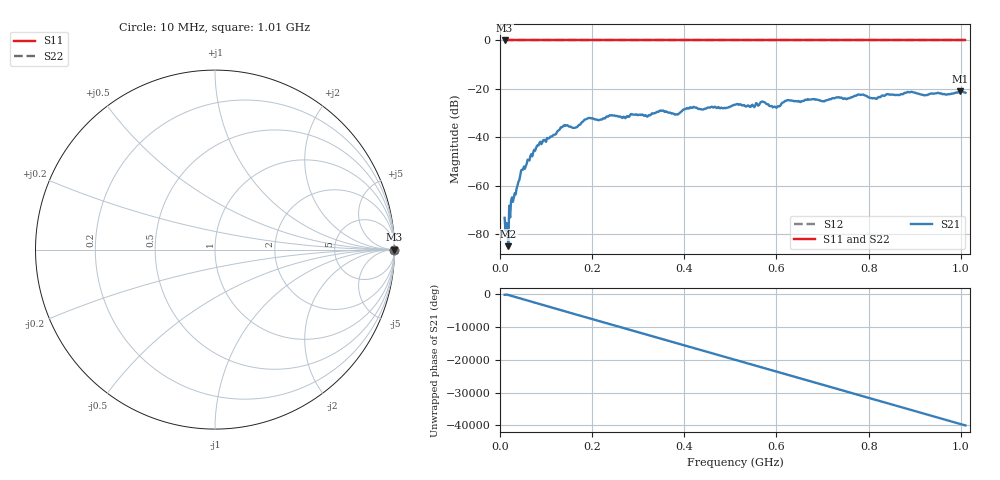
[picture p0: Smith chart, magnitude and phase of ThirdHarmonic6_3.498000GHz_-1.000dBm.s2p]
! 8/17/2025 11:25:09 AM
! C:\ANRITSUVNA\TEMP\TEMP.S2P
! CHANNEL.1
! TR.MEASUREMENT
! RAW.DATA
! RF.CORRECTION.OFF
! AVERAGING.OFF
! IF.BANDWIDTH: 5KHZ
! SWEEPTYPE:  FREQ.SWEEP(Linear)
! Reference Plane Port Info
! PORT:  PORT1  PORT2
! DISTANCE:  0  m  0  m
! TIME:  0  s  0  s
! PHASE.OFFSET:  0  deg.  0  deg.
! LOSS:  0  dB  0  dB
! REF.LOSS:  0  dB  0  dB
! REF.FREQ:  0  Hz  0  Hz
! Power Info
! POWER:  -20  dBm  -20  dBm
! EFF.POWER:  -20  dBm  -20  dBm
! SOURCE.ATTEN:  0  dB  0  dB
! TEST.ATTEN:  0  dB  0  dB
# GHZ S RI R 50.0
! FREQ.GHZ  S11RE  S11IM  S21RE  S21IM  S12RE  S12IM  S22RE  S22IM
!; PortSelection: Port_12
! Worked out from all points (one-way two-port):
!   501 points, 10 MHz to 1.01 GHz, reference 50 ohm
!   highest |S21| = -20.99 dB at 998 MHz (marker M1); lowest = -85.0 dB at 18 MHz (marker M2)
!   lowest |S11| = 0.0 dB at 10 MHz (marker M3)
!   |S11| at or under -10 dB: nowhere
!   |S22| runs from 0.0 to 0.0 dB; largest |S21 - S12| = 1.1
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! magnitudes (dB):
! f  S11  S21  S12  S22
! 10 MHz  0.0  -73.3  0.0  0.0
! 14 MHz  0.0  -75.4  0.0  0.0
! 18 MHz  0.0  -85.0  0.0  0.0
! 24 MHz  0.0  -66.2  0.0  0.0
! 48 MHz  0.0  -53.4  0.0  0.0
! 84 MHz  0.0  -43.3  0.0  0.0
! 136 MHz  0.0  -35.7  0.0  0.0
! 162 MHz  0.0  -36.1  0.0  0.0
! 178 MHz  0.0  -33.7  0.0  0.0
! 344 MHz  0.0  -29.5  0.0  0.0
! 384 MHz  0.0  -30.5  0.0  0.0
! 416 MHz  0.0  -27.9  0.0  0.0
! 510 MHz  0.0  -26.6  0.0  0.0
! 570 MHz  0.0  -25.3  0.0  0.0
! 596 MHz  0.0  -27.3  0.0  0.0
! 622 MHz  0.0  -24.8  0.0  0.0
! 678 MHz  0.0  -24.3  0.0  0.0
! 782 MHz  0.0  -22.5  0.0  0.0
! 814 MHz  0.0  -23.9  0.0  0.0
! 844 MHz  0.0  -22.3  0.0  0.0
! 998 MHz  0.0  -21.0  0.0  0.0
! 1.01 GHz  0.0  -21.6  0.0  0.0
